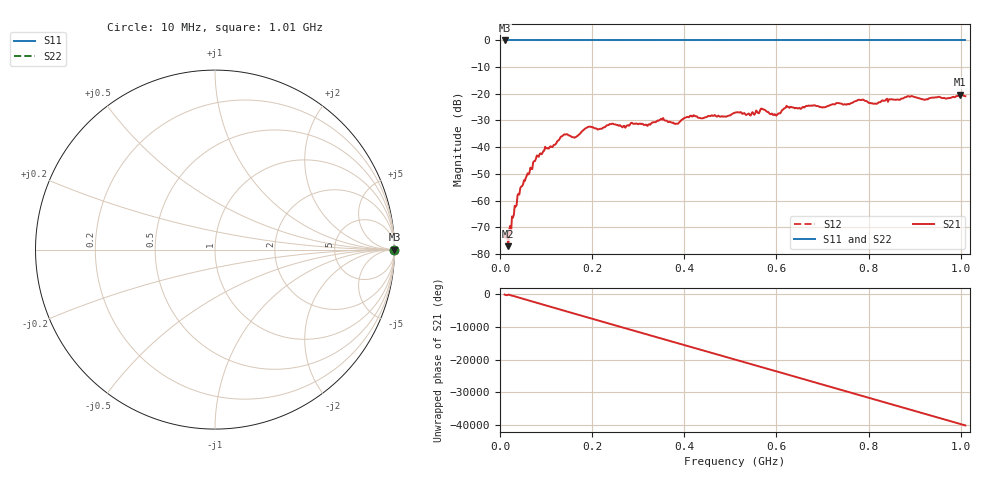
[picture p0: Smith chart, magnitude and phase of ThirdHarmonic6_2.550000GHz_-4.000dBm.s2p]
! 8/17/2025 5:12:17 AM
! C:\ANRITSUVNA\TEMP\TEMP.S2P
! CHANNEL.1
! TR.MEASUREMENT
! RAW.DATA
! RF.CORRECTION.OFF
! AVERAGING.OFF
! IF.BANDWIDTH: 5KHZ
! SWEEPTYPE:  FREQ.SWEEP(Linear)
! Reference Plane Port Info
! PORT:  PORT1  PORT2
! DISTANCE:  0  m  0  m
! TIME:  0  s  0  s
! PHASE.OFFSET:  0  deg.  0  deg.
! LOSS:  0  dB  0  dB
! REF.LOSS:  0  dB  0  dB
! REF.FREQ:  0  Hz  0  Hz
! Power Info
! POWER:  -20  dBm  -20  dBm
! EFF.POWER:  -20  dBm  -20  dBm
! SOURCE.ATTEN:  0  dB  0  dB
! TEST.ATTEN:  0  dB  0  dB
# GHZ S RI R 50.0
! FREQ.GHZ  S11RE  S11IM  S21RE  S21IM  S12RE  S12IM  S22RE  S22IM
!; PortSelection: Port_12
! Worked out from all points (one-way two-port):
!   501 points, 10 MHz to 1.01 GHz, reference 50 ohm
!   highest |S21| = -20.27 dB at 998 MHz (marker M1); lowest = -77.1 dB at 18 MHz (marker M2)
!   lowest |S11| = 0.0 dB at 10 MHz (marker M3)
!   |S11| at or under -10 dB: nowhere
!   |S22| runs from 0.0 to 0.0 dB; largest |S21 - S12| = 1.1
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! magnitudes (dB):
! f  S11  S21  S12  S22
! 10 MHz  0.0  -73.8  0.0  0.0
! 18 MHz  0.0  -77.1  0.0  0.0
! 42 MHz  0.0  -57.8  0.0  0.0
! 76 MHz  0.0  -45.2  0.0  0.0
! 136 MHz  0.0  -35.7  0.0  0.0
! 162 MHz  0.0  -36.5  0.0  0.0
! 178 MHz  0.0  -34.0  0.0  0.0
! 194 MHz  0.0  -32.3  0.0  0.0
! 322 MHz  0.0  -31.5  0.0  0.0
! 344 MHz  0.0  -30.1  0.0  0.0
! 382 MHz  0.0  -31.2  0.0  0.0
! 416 MHz  0.0  -28.4  0.0  0.0
! 488 MHz  0.0  -28.5  0.0  0.0
! 510 MHz  0.0  -27.1  0.0  0.0
! 540 MHz  0.0  -27.4  0.0  0.0
! 570 MHz  0.0  -25.8  0.0  0.0
! 598 MHz  0.0  -28.0  0.0  0.0
! 622 MHz  0.0  -24.5  0.0  0.0
! 678 MHz  0.0  -24.5  0.0  0.0
! 844 MHz  0.0  -22.1  0.0  0.0
! 998 MHz  0.0  -20.3  0.0  0.0
! 1.01 GHz  0.0  -20.9  0.0  0.0
